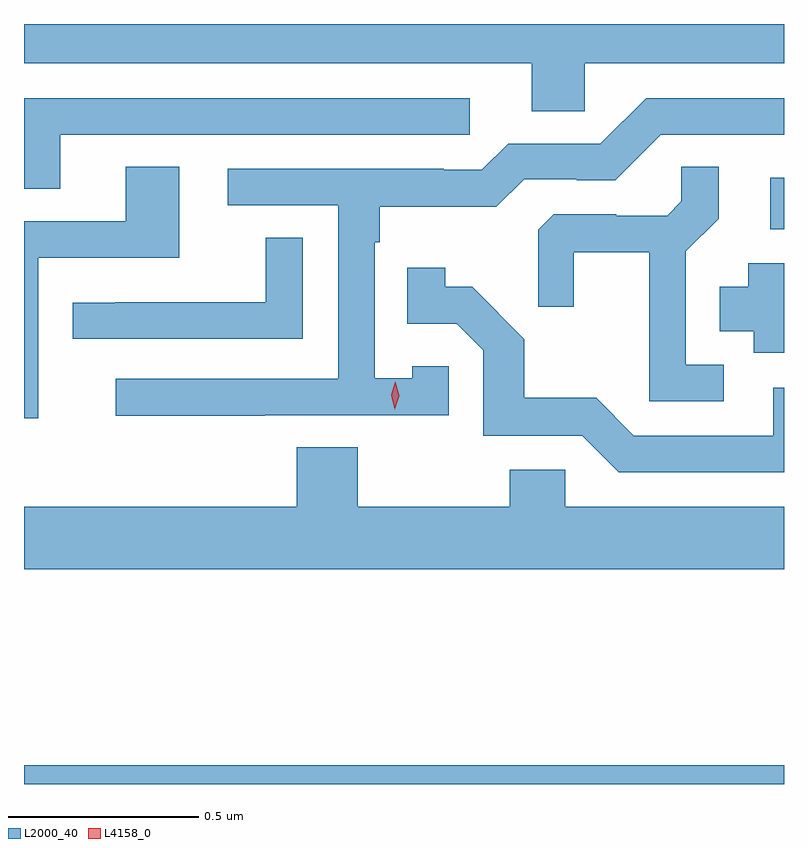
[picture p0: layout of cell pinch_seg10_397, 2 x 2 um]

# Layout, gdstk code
import gdstk
lib = gdstk.Library(unit=1e-6, precision=1e-09)
def R(c, l, rs):  # rectangles x0, y0, x1, y1
    for r in rs: c.add(gdstk.rectangle(r[:2], r[2:], *l))
def P(c, l, *ps):  # polygons
    for p in ps: c.add(gdstk.Polygon(p, *l))
L2000_40 = (2000, 40)
L4158_0 = (4158, 0)

pinch_seg10_397 = lib.new_cell('pinch_seg10_397')
R(pinch_seg10_397, L2000_40, [(540.151,1271.779,542.151,1271.828), (542.115,1273.239,542.151,1273.375)])
P(pinch_seg10_397, L2000_40, [(541.626,1273.676),(542.151,1273.676),(542.151,1273.779),(540.151,1273.779),(540.151,1273.676),(541.487,1273.676),(541.487,1273.549),(541.626,1273.549)],
  [(540.247,1273.488),(541.324,1273.488),(541.324,1273.584),(540.151,1273.584),(540.151,1273.345),(540.247,1273.345)],
  [(540.785,1272.75),(541.269,1272.75),(541.269,1272.879),(541.173,1272.879),(541.173,1272.847),(541.074,1272.847),(541.074,1273.205),(541.087,1273.205),(541.087,1273.298),(541.394,1273.298),(541.467,1273.371),(541.606,1273.371),(541.606,1273.368),(541.707,1273.368),(541.827,1273.488),(542.151,1273.488),(542.151,1273.584),(541.788,1273.584),(541.668,1273.464),(541.425,1273.464),(541.356,1273.395),(541.256,1273.395),(541.256,1273.398),(540.687,1273.398),(540.687,1273.302),(540.978,1273.302),(540.978,1272.846),(540.393,1272.846),(540.393,1272.748),(540.785,1272.748)],
  [(540.189,1273.164),(540.559,1273.164),(540.559,1273.403),(540.419,1273.403),(540.419,1273.26),(540.151,1273.26),(540.151,1272.741),(540.189,1272.741)],
  [(541.993,1272.882),(541.893,1272.882),(541.893,1273.181),(541.979,1273.267),(541.979,1273.403),(541.881,1273.403),(541.881,1273.312),(541.844,1273.275),(541.71,1273.275),(541.71,1273.278),(541.545,1273.278),(541.504,1273.237),(541.504,1273.035),(541.598,1273.035),(541.598,1273.178),(541.796,1273.178),(541.796,1272.786),(541.993,1272.786)],
  [(540.885,1273.217),(540.787,1273.217),(540.787,1273.047),(540.391,1273.047),(540.391,1273.046),(540.279,1273.046),(540.279,1272.951),(540.885,1272.951)],
  [(542.151,1273.15),(542.057,1273.15),(542.057,1273.087),(541.982,1273.087),(541.982,1272.971),(542.072,1272.971),(542.072,1272.914),(542.151,1272.914)],
  [(542.151,1272.822),(542.123,1272.822),(542.123,1272.696),(541.755,1272.696),(541.657,1272.795),(541.468,1272.795),(541.468,1272.95),(541.33,1273.088),(541.26,1273.088),(541.26,1273.138),(541.159,1273.138),(541.159,1272.99),(541.29,1272.99),(541.359,1272.921),(541.359,1272.696),(541.62,1272.696),(541.716,1272.6),(542.151,1272.6)],
  [(542.151,1272.508),(541.575,1272.508),(541.575,1272.606),(541.429,1272.606),(541.429,1272.508),(541.029,1272.508),(541.029,1272.665),(540.869,1272.665),(540.869,1272.508),(540.151,1272.508),(540.151,1272.344),(542.151,1272.344)])
P(pinch_seg10_397, L4158_0, [(541.127,1272.765),(541.127,1272.765),(541.118,1272.802),(541.128,1272.837),(541.128,1272.837),(541.128,1272.837),(541.138,1272.801),(541.127,1272.765)])

lib.write_gds('pinch_seg10_397.gds')
